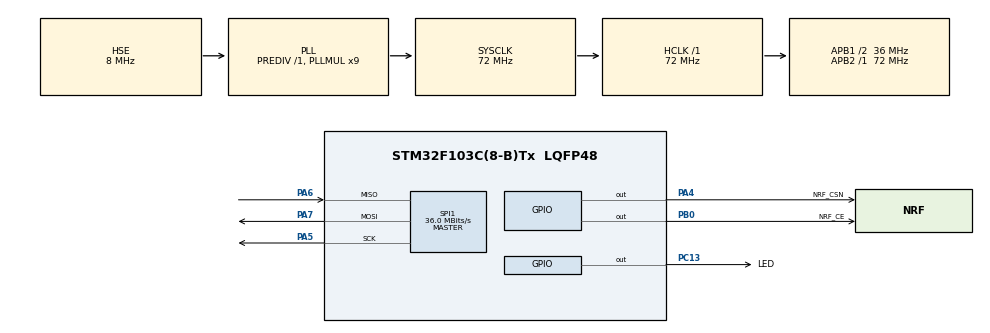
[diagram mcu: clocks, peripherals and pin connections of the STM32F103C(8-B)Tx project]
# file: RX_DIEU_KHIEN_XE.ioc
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Mcu.Family=STM32F1
Mcu.Name=STM32F103C(8-B)Tx
Mcu.Package=LQFP48
NVIC.PriorityGroup=NVIC_PRIORITYGROUP_4
PA13.Mode=Serial_Wire
PA13.Signal=SYS_JTMS-SWDIO
PA14.Mode=Serial_Wire
PA14.Signal=SYS_JTCK-SWCLK
PA4.GPIO_Label=NRF_CSN
PA4.PinState=GPIO_PIN_SET
PA4.Signal=GPIO_Output
PA5.Mode=Full_Duplex_Master
PA5.Signal=SPI1_SCK
PA6.Mode=Full_Duplex_Master
PA6.Signal=SPI1_MISO
PA7.Mode=Full_Duplex_Master
PA7.Signal=SPI1_MOSI
PB0.GPIO_Label=NRF_CE
PB0.PinState=GPIO_PIN_SET
PB0.Signal=GPIO_Output
PC13-TAMPER-RTC.GPIO_Label=LED
PC13-TAMPER-RTC.PinState=GPIO_PIN_SET
PC13-TAMPER-RTC.Signal=GPIO_Output
PD0-OSC_IN.Mode=HSE-External-Oscillator
PD0-OSC_IN.Signal=RCC_OSC_IN
PD1-OSC_OUT.Mode=HSE-External-Oscillator
PD1-OSC_OUT.Signal=RCC_OSC_OUT
ProjectManager.HeapSize=0x200
ProjectManager.StackSize=0x400
ProjectManager.TargetToolchain=STM32CubeIDE
RCC.AHBFreq_Value=72000000
RCC.APB1CLKDivider=RCC_HCLK_DIV2
RCC.APB1Freq_Value=36000000
RCC.APB1TimFreq_Value=72000000
RCC.APB2Freq_Value=72000000
RCC.APB2TimFreq_Value=72000000
RCC.HCLKFreq_Value=72000000
RCC.PLLMUL=RCC_PLL_MUL9
RCC.PLLSourceVirtual=RCC_PLLSOURCE_HSE
RCC.SYSCLKFreq_VALUE=72000000
RCC.SYSCLKSource=RCC_SYSCLKSOURCE_PLLCLK
RCC.USBFreq_Value=72000000
SPI1.BaudRatePrescaler=SPI_BAUDRATEPRESCALER_2
SPI1.CalculateBaudRate=36.0 MBits/s
SPI1.Direction=SPI_DIRECTION_2LINES
SPI1.Mode=SPI_MODE_MASTER
SPI1.VirtualType=VM_MASTER
board=custom

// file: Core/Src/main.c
/* USER CODE BEGIN Header */
/**
  ******************************************************************************
  * @file           : main.c
  * @brief          : RECEIVER (XE) - BARE METAL POLLING
  ******************************************************************************
  */
/* USER CODE END Header */
#include "main.h"

/* USER CODE BEGIN Includes */
#include "nrf24.h" // Thư viện nRF24 bắt buộc phải có
/* USER CODE END Includes */

/* USER CODE BEGIN PTD */
/* Cấu trúc lưu trữ lệnh điều khiển từ tay cầm */
typedef struct {
    uint8_t ga;          // 0 - 100%
    uint8_t lai;         // 0 - 100%
    uint8_t mode;        // 0:N, 1:R, 2:D
    uint8_t level;       // 1, 2, 3
    uint8_t connected;   // 1: Có sóng, 0: Mất sóng
} XeControl_t;
/* USER CODE END PTD */

SPI_HandleTypeDef hspi1;

/* USER CODE BEGIN PV */
uint8_t rx_data[8];      // Bộ đệm nhận 8 byte
uint8_t stat_rx;         // Biến soi trạng thái RF trong Live Expressions
uint8_t nrf_addr[5] = {0x11, 0x22, 0x33, 0x44, 0x55}; // Phải khớp 100% với mạch TX
uint8_t payload_len;

XeControl_t xe_control = {0, 0, 0, 0, 0};
uint32_t last_recv_time = 0; // Biến phục vụ Fail-Safe
/* USER CODE END PV */

void SystemClock_Config(void);
static void MX_GPIO_Init(void);
static void MX_SPI1_Init(void);

int main(void)
{

  /* MCU Configuration--------------------------------------------------------*/

  /* Reset of all peripherals, Initializes the Flash interface and the Systick. */
  HAL_Init();

  /* Configure the system clock */
  SystemClock_Config();

  /* Initialize all configured peripherals */
  MX_GPIO_Init();
  MX_SPI1_Init();

  /* USER CODE BEGIN 2 */
  /* --- KHỞI TẠO NRF24 TRƯỚC KHI VÀO VÒNG LẶP --- */
  nRF24_Init();
  nRF24_SetRFChannel(76);
  nRF24_SetAddrWidth(5);

  // Thiết lập đường ống nhận Pipe 1
  nRF24_SetAddr(nRF24_PIPE1, nrf_addr);
  nRF24_SetRXPipe(nRF24_PIPE1, nRF24_AA_ON, 8); // 8 byte, bật Auto-Ack

  nRF24_SetOperationalMode(nRF24_MODE_RX); // Chuyển sang chế độ thu
  nRF24_SetPowerMode(nRF24_PWR_UP);

  nRF24_CE_H(); // Mở to tai để nghe ngóng liên tục
  /* USER CODE END 2 */

  /* Infinite loop */
  /* USER CODE BEGIN WHILE */
  while (1)
  {
    /* --- 1. QUÉT TÍN HIỆU RF (POLLING) --- */
    stat_rx = nRF24_GetStatus();

    // Nếu có dữ liệu nhảy vào FIFO (Bit RX_DR lên 1)
    if (stat_rx & (1 << 6)) {
        if (nRF24_ReadPayload(rx_data, &payload_len) != nRF24_RX_EMPTY) {

            // Xác thực Checksum
            uint8_t check = rx_data[0] + rx_data[1] + rx_data[5] + rx_data[6];

            if (check == rx_data[7]) {
                // Đổ dữ liệu vào struct điều khiển
                xe_control.ga    = rx_data[0];
                xe_control.lai   = rx_data[1];
                xe_control.mode  = rx_data[5];
                xe_control.level = rx_data[6];
                xe_control.connected = 1;

                last_recv_time = HAL_GetTick(); // Chốt thời gian nhận tin cuối
                HAL_GPIO_TogglePin(LED_GPIO_Port, LED_Pin); // Nháy LED báo hiệu
            }
        }
        nRF24_ClearIRQFlags(); // Xóa cờ ngắt để chờ tin tiếp theo
    }

    /* --- 2. FAIL-SAFE (CHỐNG MẤT KIỂM SOÁT) --- */
    // Nếu quá 500ms không có tin mới -> Ép ga về 0
    if ((HAL_GetTick() - last_recv_time) > 500) {
        xe_control.connected = 0;
        xe_control.ga = 0;
    }

    /* --- 3. ĐIỀU KHIỂN ĐỘNG CƠ TẠI ĐÂY --- */
    // Update_Motor_Speed(xe_control.ga);
    // Update_Servo_Angle(xe_control.lai);

    HAL_Delay(10); // Quét chu kỳ 10ms (100Hz)
    /* USER CODE END WHILE */

  }
}

void SystemClock_Config(void)
{
  RCC_OscInitTypeDef RCC_OscInitStruct = {0};
  RCC_ClkInitTypeDef RCC_ClkInitStruct = {0};

  RCC_OscInitStruct.OscillatorType = RCC_OSCILLATORTYPE_HSE;
  RCC_OscInitStruct.HSEState = RCC_HSE_ON;
  RCC_OscInitStruct.HSEPredivValue = RCC_HSE_PREDIV_DIV1;
  RCC_OscInitStruct.HSIState = RCC_HSI_ON;
  RCC_OscInitStruct.PLL.PLLState = RCC_PLL_ON;
  RCC_OscInitStruct.PLL.PLLSource = RCC_PLLSOURCE_HSE;
  RCC_OscInitStruct.PLL.PLLMUL = RCC_PLL_MUL9;
  if (HAL_RCC_OscConfig(&RCC_OscInitStruct) != HAL_OK)
  {
    Error_Handler();
  }

  RCC_ClkInitStruct.ClockType = RCC_CLOCKTYPE_HCLK|RCC_CLOCKTYPE_SYSCLK
                              |RCC_CLOCKTYPE_PCLK1|RCC_CLOCKTYPE_PCLK2;
  RCC_ClkInitStruct.SYSCLKSource = RCC_SYSCLKSOURCE_PLLCLK;
  RCC_ClkInitStruct.AHBCLKDivider = RCC_SYSCLK_DIV1;
  RCC_ClkInitStruct.APB1CLKDivider = RCC_HCLK_DIV2;
  RCC_ClkInitStruct.APB2CLKDivider = RCC_HCLK_DIV1;

  if (HAL_RCC_ClockConfig(&RCC_ClkInitStruct, FLASH_LATENCY_2) != HAL_OK)
  {
    Error_Handler();
  }
}

static void MX_SPI1_Init(void)
{

  /* SPI1 parameter configuration*/
  hspi1.Instance = SPI1;
  hspi1.Init.Mode = SPI_MODE_MASTER;
  hspi1.Init.Direction = SPI_DIRECTION_2LINES;
  hspi1.Init.DataSize = SPI_DATASIZE_8BIT;
  hspi1.Init.CLKPolarity = SPI_POLARITY_LOW;
  hspi1.Init.CLKPhase = SPI_PHASE_1EDGE;
  hspi1.Init.NSS = SPI_NSS_SOFT;

  /* ĐÃ SỬA: Prescaler = 16 để tốc độ SPI đạt 4.5MHz (Phù hợp với nRF24) */
  hspi1.Init.BaudRatePrescaler = SPI_BAUDRATEPRESCALER_16;

  hspi1.Init.FirstBit = SPI_FIRSTBIT_MSB;
  hspi1.Init.TIMode = SPI_TIMODE_DISABLE;
  hspi1.Init.CRCCalculation = SPI_CRCCALCULATION_DISABLE;
  hspi1.Init.CRCPolynomial = 10;
  if (HAL_SPI_Init(&hspi1) != HAL_OK)
  {
    Error_Handler();
  }
}

static void MX_GPIO_Init(void)
{
  GPIO_InitTypeDef GPIO_InitStruct = {0};

  /* GPIO Ports Clock Enable */
  __HAL_RCC_GPIOC_CLK_ENABLE();
  __HAL_RCC_GPIOD_CLK_ENABLE();
  __HAL_RCC_GPIOA_CLK_ENABLE();
  __HAL_RCC_GPIOB_CLK_ENABLE();

  /*Configure GPIO pin Output Level */
  HAL_GPIO_WritePin(LED_GPIO_Port, LED_Pin, GPIO_PIN_SET);

  /*Configure GPIO pin Output Level */
  HAL_GPIO_WritePin(NRF_CSN_GPIO_Port, NRF_CSN_Pin, GPIO_PIN_SET);

  /*Configure GPIO pin Output Level */
  HAL_GPIO_WritePin(NRF_CE_GPIO_Port, NRF_CE_Pin, GPIO_PIN_RESET); // Đã sửa về RESET lúc init

  /*Configure GPIO pin : LED_Pin */
  GPIO_InitStruct.Pin = LED_Pin;
  GPIO_InitStruct.Mode = GPIO_MODE_OUTPUT_PP;
  GPIO_InitStruct.Pull = GPIO_NOPULL;
  GPIO_InitStruct.Speed = GPIO_SPEED_FREQ_LOW;
  HAL_GPIO_Init(LED_GPIO_Port, &GPIO_InitStruct);

  /*Configure GPIO pin : NRF_CSN_Pin */
  GPIO_InitStruct.Pin = NRF_CSN_Pin;
  GPIO_InitStruct.Mode = GPIO_MODE_OUTPUT_PP;
  GPIO_InitStruct.Pull = GPIO_NOPULL;
  GPIO_InitStruct.Speed = GPIO_SPEED_FREQ_LOW;
  HAL_GPIO_Init(NRF_CSN_GPIO_Port, &GPIO_InitStruct);

  /*Configure GPIO pin : NRF_CE_Pin */
  GPIO_InitStruct.Pin = NRF_CE_Pin;
  GPIO_InitStruct.Mode = GPIO_MODE_OUTPUT_PP;
  GPIO_InitStruct.Pull = GPIO_NOPULL;
  GPIO_InitStruct.Speed = GPIO_SPEED_FREQ_LOW;
  HAL_GPIO_Init(NRF_CE_GPIO_Port, &GPIO_InitStruct);

}

void Error_Handler(void)
{
  __disable_irq();
  while (1)
  {
  }
}
